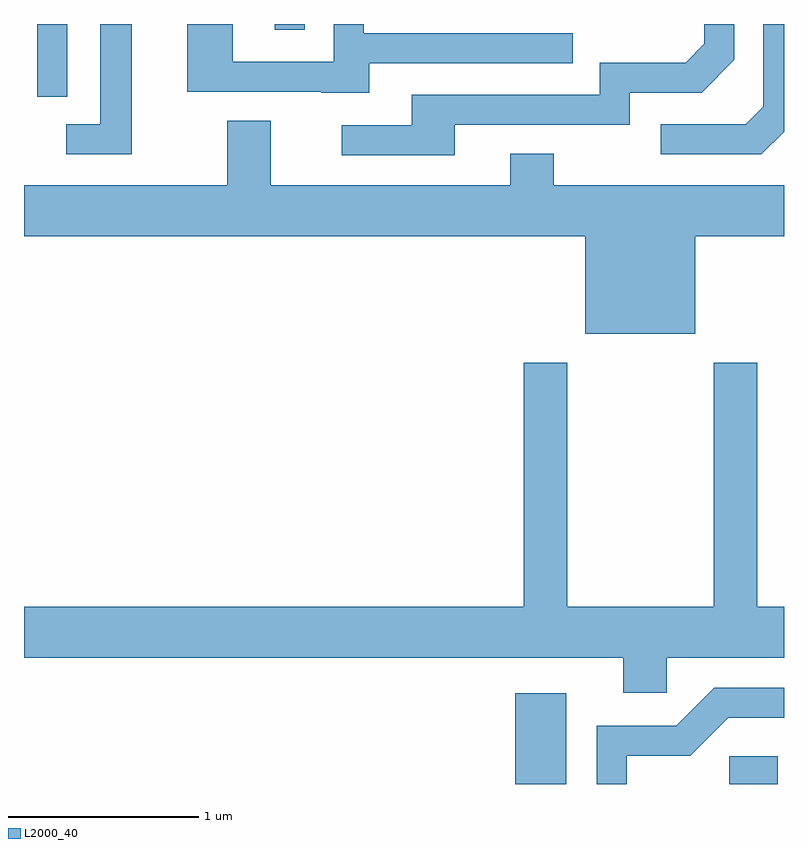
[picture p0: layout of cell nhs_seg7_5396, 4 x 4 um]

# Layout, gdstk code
import gdstk
lib = gdstk.Library(unit=1e-6, precision=1e-09)
def R(c, l, rs):  # rectangles x0, y0, x1, y1
    for r in rs: c.add(gdstk.rectangle(r[:2], r[2:], *l))
def P(c, l, *ps):  # polygons
    for p in ps: c.add(gdstk.Polygon(p, *l))
L2000_40 = (2000, 40)

nhs_seg7_5396 = lib.new_cell('nhs_seg7_5396')
R(nhs_seg7_5396, L2000_40, [(352.196,1780.252,352.464,1780.729), (353.323,1780.252,353.579,1780.399), (349.681,1783.868,349.839,1784.252), (350.931,1784.223,351.089,1784.252)])
P(nhs_seg7_5396, L2000_40, [(351.429,1784.046),(352.498,1784.046),(352.498,1784.204),(351.399,1784.204),(351.399,1784.252),(351.241,1784.252),(351.241,1784.054),(350.709,1784.054),(350.709,1784.252),(350.471,1784.252),(350.471,1783.896),(351.175,1783.896),(351.175,1783.891),(351.429,1783.891)],
  [(350.179,1784.252),(350.011,1784.252),(350.011,1783.724),(349.833,1783.724),(349.833,1783.566),(350.179,1783.566)],
  [(351.879,1783.721),(352.799,1783.721),(352.799,1783.891),(353.177,1783.891),(353.349,1784.064),(353.349,1784.252),(353.191,1784.252),(353.191,1784.147),(353.094,1784.049),(352.641,1784.049),(352.641,1783.879),(351.651,1783.879),(351.651,1783.719),(351.283,1783.719),(351.283,1783.561),(351.879,1783.561)],
  [(353.611,1783.686),(353.611,1784.252),(353.501,1784.252),(353.501,1783.817),(353.409,1783.724),(352.963,1783.724),(352.963,1783.566),(353.492,1783.566)],
  [(353.144,1783.136),(353.611,1783.136),(353.611,1783.404),(352.399,1783.404),(352.399,1783.569),(352.171,1783.569),(352.171,1783.404),(350.909,1783.404),(350.909,1783.744),(350.681,1783.744),(350.681,1783.404),(349.611,1783.404),(349.611,1783.136),(352.566,1783.136),(352.566,1782.621),(353.144,1782.621)],
  [(352.994,1780.916),(353.611,1780.916),(353.611,1781.184),(353.469,1781.184),(353.469,1782.469),(353.241,1782.469),(353.241,1781.184),(352.469,1781.184),(352.469,1782.469),(352.241,1782.469),(352.241,1781.184),(349.611,1781.184),(349.611,1780.916),(352.766,1780.916),(352.766,1780.731),(352.994,1780.731)],
  [(352.784,1780.401),(353.117,1780.401),(353.317,1780.601),(353.611,1780.601),(353.611,1780.759),(353.244,1780.759),(353.044,1780.559),(352.626,1780.559),(352.626,1780.252),(352.784,1780.252)])

lib.write_gds('nhs_seg7_5396.gds')
